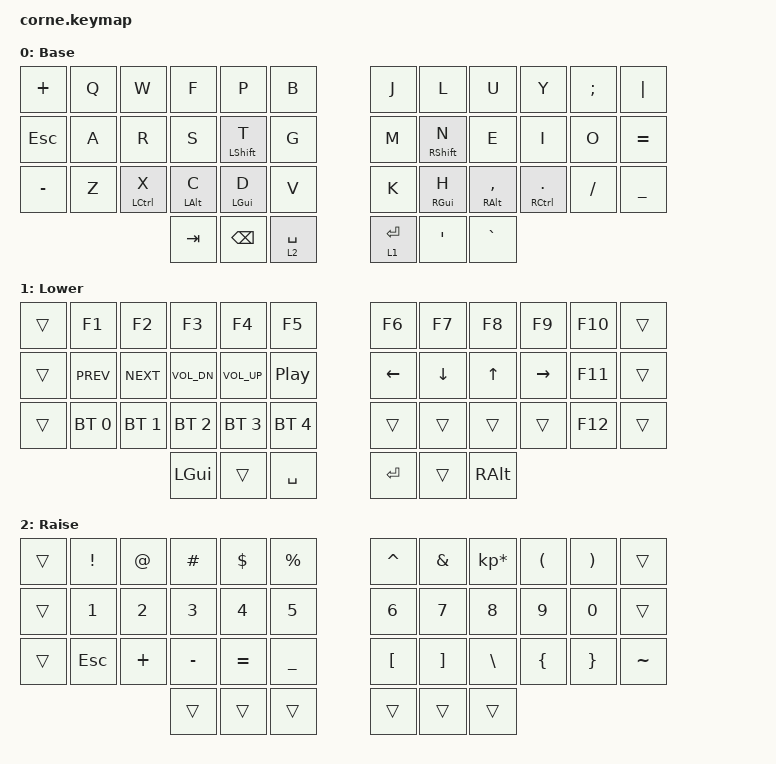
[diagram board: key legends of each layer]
/*
 * Copyright (c) 2020 The ZMK Contributors
 *
 * SPDX-License-Identifier: MIT
 */

#include <behaviors.dtsi>
#include <dt-bindings/zmk/keys.h>
#include <dt-bindings/zmk/bt.h>

/ {
behaviors {
        bhm: balanced_homerow_mods {
            compatible = "zmk,behavior-hold-tap";
            label = "HOMEROW_MODS";
            #binding-cells = <2>;
            tapping-term-ms = <400>;    // <---[[moderate duration]]
            flavor = "balanced";
            bindings = <&kp>, <&kp>;
        };
    };        keymap {
                compatible = "zmk,keymap";

                default_layer {
                        label = "Base";
                        bindings = <
// ___________________________________________________________________________________________________________________________________________________________________________________________________________
// |  +            |  Q            |  W            |  F            |  P            |  B           |//////////|  J            |  L            |  U            |  Y            |  ;            |  |            |
    &kp PLUS        &kp Q           &kp W           &kp F           &kp P           &kp B                     &kp J           &kp L           &kp U           &kp Y           &kp SEMI        &kp PIPE
// | CTRL          |  A            |  S            |  D            |  F            |  G           |//////////|  H            |  J            |  K            |  L            |  ;            |  '            |
    &kp ESC         &kp A           &kp R           &kp S           &bhm LSHIFT T   &kp G                     &kp M           &bhm RSHIFT N   &kp E           &kp I           &kp O           &kp EQUAL
// | SHFT          |  Z            |  X            |  C            |  V            |  B           |//////////|  N            |  M            |  ,            |  .            |  /            | ESC           |
    &kp MINUS       &kp Z           &bhm LCTRL X    &bhm LALT C     &bhm LGUI D     &kp V                     &kp K           &bhm RGUI H     &bhm RALT COMMA &bhm RCTRL DOT  &kp FSLH        &kp UNDER
//                                                 | GUI           | LWR           | SPC          |//////////|  ENT          | RSE           | ALT           |
                                                    &kp TAB         &kp BSPC        &lt 2 SPACE               &lt 1 RET       &kp SQT         &kp GRAVE
                        >;
                };
                lower_layer {
                        label = "Lower";
                        bindings = <        
// ___________________________________________________________________________________________________________________________________________________________________________________________________________
// |               |               |               |               |               |              |//////////|               |               |               |               |              |               |
    &trans          &kp F1          &kp F2          &kp F3          &kp F4          &kp F5                    &kp F6          &kp F7          &kp F8          &kp F9          &kp F10         &trans
// |               |               |               |               |               |              |//////////|               |               |               |               |               |               |
    &trans          &kp C_PREV      &kp C_NEXT      &kp C_VOL_DN    &kp C_VOL_UP    &kp C_PP                  &kp LEFT        &kp DOWN        &kp UP          &kp RIGHT       &kp F11         &trans
// |               |               |               |               |               |              |//////////|               |               |               |               |               |               |
    &trans          &bt BT_SEL 0    &bt BT_SEL 1    &bt BT_SEL 2    &bt BT_SEL 3    &bt BT_SEL 4              &trans          &trans          &trans          &trans          &kp F12         &trans
//                                                 | GUI           | LWR           | SPC          |//////////|  ENT          | RSE           | ALT           |
                          	                    &kp LGUI        &trans          &kp SPACE                 &kp RET         &trans          &kp RALT
                        >;
                };

                raise_layer {
                        label = "Raise";
                        bindings = <
// ___________________________________________________________________________________________________________________________________________________________________________________________________________
// |               |               |               |               |               |              |//////////|               |               |               |               |               |               |
    &trans          &kp EXCL        &kp AT          &kp HASH        &kp DLLR        &kp PRCNT                 &kp CARET       &kp AMPS        &kp KP_MULTIPLY &kp LPAR        &kp RPAR        &trans
// |               |               |               |               |               |              |//////////|               |               |               |               |               |               |
    &trans          &kp N1          &kp N2          &kp N3          &kp N4          &kp N5                    &kp N6          &kp N7          &kp N8          &kp N9          &kp N0          &trans
// |               |               |               |               |               |              |//////////|               |               |               |               |               |               |
    &trans          &kp ESC         &kp PLUS        &kp MINUS       &kp EQUAL       &kp UNDER                 &kp LBKT        &kp RBKT        &kp BSLH        &kp LBRC        &kp RBRC        &kp TILDE
//                                                 | GUI           | LWR           | SPC          |//////////|  ENT          | RSE           | ALT           |
                    	                            &trans          &trans          &trans                    &trans          &trans          &trans
                        >;
                };
            };
};
